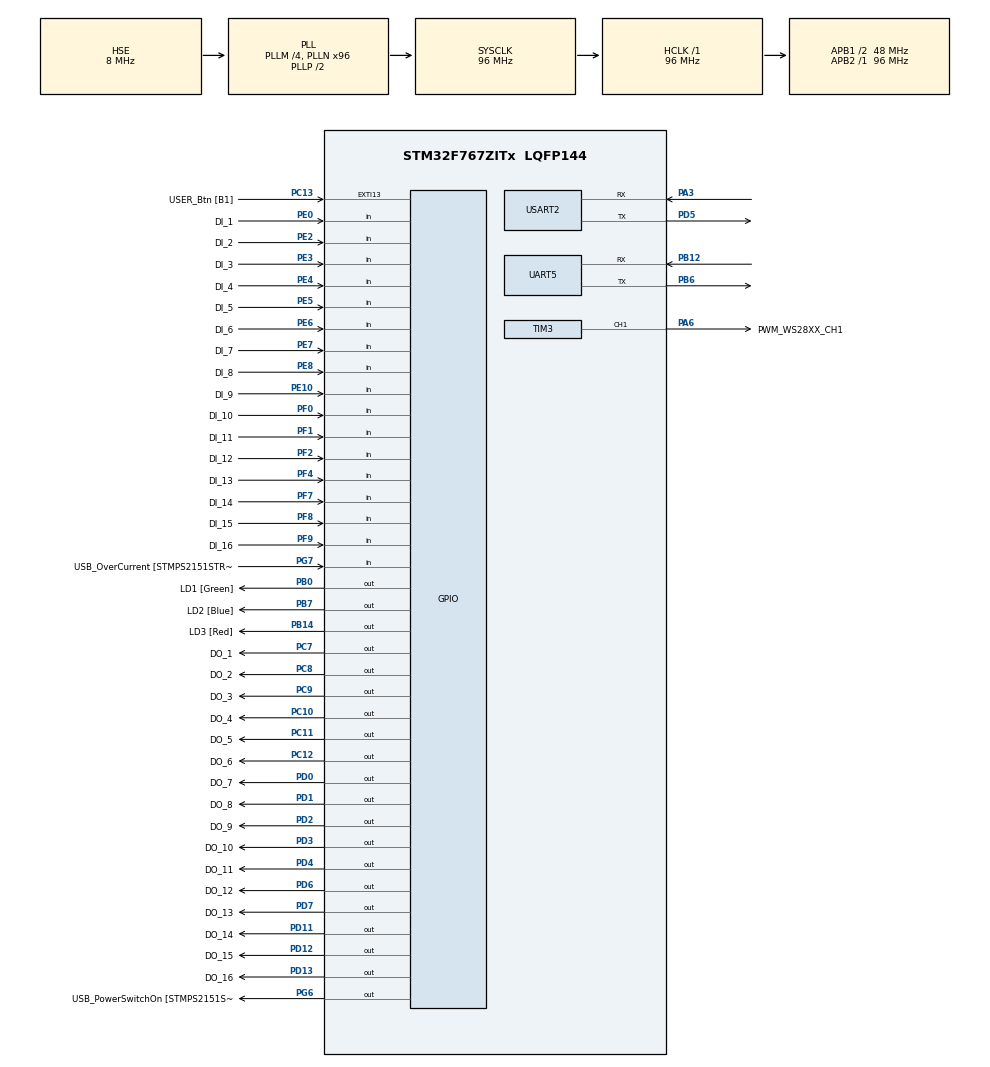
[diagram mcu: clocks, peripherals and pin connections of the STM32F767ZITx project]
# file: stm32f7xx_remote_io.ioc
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Dma.Request0=TIM3_CH1/TRIG
Dma.Request1=USART2_TX
Dma.TIM3_CH1/TRIG.0.Direction=DMA_MEMORY_TO_PERIPH
Dma.TIM3_CH1/TRIG.0.FIFOMode=DMA_FIFOMODE_DISABLE
Dma.TIM3_CH1/TRIG.0.Instance=DMA1_Stream4
Dma.TIM3_CH1/TRIG.0.MemDataAlignment=DMA_MDATAALIGN_WORD
Dma.TIM3_CH1/TRIG.0.MemInc=DMA_MINC_ENABLE
Dma.TIM3_CH1/TRIG.0.Mode=DMA_CIRCULAR
Dma.TIM3_CH1/TRIG.0.PeriphDataAlignment=DMA_PDATAALIGN_WORD
Dma.TIM3_CH1/TRIG.0.PeriphInc=DMA_PINC_DISABLE
Dma.TIM3_CH1/TRIG.0.Priority=DMA_PRIORITY_LOW
Dma.USART2_TX.1.Direction=DMA_MEMORY_TO_PERIPH
Dma.USART2_TX.1.FIFOMode=DMA_FIFOMODE_DISABLE
Dma.USART2_TX.1.Instance=DMA1_Stream6
Dma.USART2_TX.1.MemDataAlignment=DMA_MDATAALIGN_BYTE
Dma.USART2_TX.1.MemInc=DMA_MINC_ENABLE
Dma.USART2_TX.1.Mode=DMA_NORMAL
Dma.USART2_TX.1.PeriphDataAlignment=DMA_PDATAALIGN_BYTE
Dma.USART2_TX.1.PeriphInc=DMA_PINC_DISABLE
Dma.USART2_TX.1.Priority=DMA_PRIORITY_LOW
Mcu.Family=STM32F7
Mcu.Name=STM32F767ZITx
Mcu.Package=LQFP144
NVIC.DMA1_Stream4_IRQn=true\:0\:0\:false\:false\:true\:false\:true\:true
NVIC.DMA1_Stream6_IRQn=true\:0\:0\:false\:false\:true\:false\:true\:true
NVIC.EXTI15_10_IRQn=true\:0\:0\:false\:false\:true\:true\:true\:true
NVIC.PriorityGroup=NVIC_PRIORITYGROUP_4
NVIC.TIM6_DAC_IRQn=true\:15\:0\:false\:false\:true\:false\:true\:true
NVIC.TimeBase=TIM6_DAC_IRQn
NVIC.TimeBaseIP=TIM6
NVIC.UART5_IRQn=true\:5\:0\:true\:false\:true\:true\:true\:true
NVIC.USART2_IRQn=true\:5\:0\:true\:false\:true\:true\:true\:true
PA1.GPIO_Label=RMII_REF_CLK [LAN8742A-CZ-TR_REFCLK0]
PA1.Signal=ETH_REF_CLK
PA10.GPIO_Label=USB_ID
PA10.Signal=USB_OTG_FS_ID
PA11.GPIO_Label=USB_DM
PA11.Signal=USB_OTG_FS_DM
PA12.GPIO_Label=USB_DP
PA12.Signal=USB_OTG_FS_DP
PA13.GPIO_Label=TMS
PA13.Mode=Serial_Wire
PA13.Signal=SYS_JTMS-SWDIO
PA14.GPIO_Label=TCK
PA14.Mode=Serial_Wire
PA14.Signal=SYS_JTCK-SWCLK
PA2.GPIO_Label=RMII_MDIO [LAN8742A-CZ-TR_MDIO]
PA2.Signal=ETH_MDIO
PA3.Mode=Asynchronous
PA3.Signal=USART2_RX
PA6.GPIO_Label=PWM_WS28XX_CH1
PA6.GPIO_ModeDefaultPP=GPIO_MODE_AF_PP
PA6.GPIO_PuPd=GPIO_PULLDOWN
PA6.Signal=S_TIM3_CH1
PA7.GPIO_Label=RMII_CRS_DV [LAN8742A-CZ-TR_CRS_DV]
PA7.Signal=ETH_CRS_DV
PA8.GPIO_Label=USB_SOF [TP1]
PA8.Signal=USB_OTG_FS_SOF
PA9.GPIO_Label=USB_VBUS
PA9.Signal=USB_OTG_FS_VBUS
PB0.GPIO_Label=LD1 [Green]
PB0.Signal=GPIO_Output
PB12.Mode=Asynchronous
PB12.Signal=UART5_RX
PB13.GPIO_Label=RMII_TXD1 [LAN8742A-CZ-TR_TXD1]
PB13.Signal=ETH_TXD1
PB14.GPIO_Label=LD3 [Red]
PB14.Signal=GPIO_Output
PB3.GPIO_Label=SWO
PB3.Signal=SYS_JTDO-SWO
PB6.Mode=Asynchronous
PB6.Signal=UART5_TX
PB7.GPIO_Label=LD2 [Blue]
PB7.Signal=GPIO_Output
PC1.GPIO_Label=RMII_MDC [LAN8742A-CZ-TR_MDC]
PC1.Signal=ETH_MDC
PC10.GPIO_Label=DO_4
PC10.GPIO_ModeDefaultOutputPP=GPIO_MODE_OUTPUT_OD
PC10.GPIO_PuPd=GPIO_NOPULL
PC10.PinState=GPIO_PIN_RESET
PC10.Signal=GPIO_Output
PC11.GPIO_Label=DO_5
PC11.GPIO_ModeDefaultOutputPP=GPIO_MODE_OUTPUT_OD
PC11.GPIO_PuPd=GPIO_NOPULL
PC11.PinState=GPIO_PIN_RESET
PC11.Signal=GPIO_Output
PC12.GPIO_Label=DO_6
PC12.GPIO_ModeDefaultOutputPP=GPIO_MODE_OUTPUT_OD
PC12.GPIO_PuPd=GPIO_NOPULL
PC12.PinState=GPIO_PIN_RESET
PC12.Signal=GPIO_Output
PC13.GPIO_Label=USER_Btn [B1]
PC13.Signal=GPXTI13
PC14/OSC32_IN.Mode=LSE-External-Oscillator
PC14/OSC32_IN.Signal=RCC_OSC32_IN
PC15/OSC32_OUT.Mode=LSE-External-Oscillator
PC15/OSC32_OUT.Signal=RCC_OSC32_OUT
PC4.GPIO_Label=RMII_RXD0 [LAN8742A-CZ-TR_RXD0]
PC4.Signal=ETH_RXD0
PC5.GPIO_Label=RMII_RXD1 [LAN8742A-CZ-TR_RXD1]
PC5.Signal=ETH_RXD1
PC7.GPIO_Label=DO_1
PC7.GPIO_ModeDefaultOutputPP=GPIO_MODE_OUTPUT_OD
PC7.GPIO_PuPd=GPIO_NOPULL
PC7.PinState=GPIO_PIN_RESET
PC7.Signal=GPIO_Output
PC8.GPIO_Label=DO_2
PC8.GPIO_ModeDefaultOutputPP=GPIO_MODE_OUTPUT_OD
PC8.GPIO_PuPd=GPIO_NOPULL
PC8.PinState=GPIO_PIN_RESET
PC8.Signal=GPIO_Output
PC9.GPIO_Label=DO_3
PC9.GPIO_ModeDefaultOutputPP=GPIO_MODE_OUTPUT_OD
PC9.GPIO_PuPd=GPIO_NOPULL
PC9.PinState=GPIO_PIN_RESET
PC9.Signal=GPIO_Output
PD0.GPIO_Label=DO_7
PD0.GPIO_ModeDefaultOutputPP=GPIO_MODE_OUTPUT_OD
PD0.GPIO_PuPd=GPIO_NOPULL
PD0.PinState=GPIO_PIN_RESET
PD0.Signal=GPIO_Output
PD1.GPIO_Label=DO_8
PD1.GPIO_ModeDefaultOutputPP=GPIO_MODE_OUTPUT_OD
PD1.GPIO_PuPd=GPIO_NOPULL
PD1.Signal=GPIO_Output
PD11.GPIO_Label=DO_14
PD11.GPIO_ModeDefaultOutputPP=GPIO_MODE_OUTPUT_OD
PD11.GPIO_PuPd=GPIO_NOPULL
PD11.Signal=GPIO_Output
PD12.GPIO_Label=DO_15
PD12.GPIO_ModeDefaultOutputPP=GPIO_MODE_OUTPUT_OD
PD12.GPIO_PuPd=GPIO_NOPULL
PD12.Signal=GPIO_Output
PD13.GPIO_Label=DO_16
PD13.GPIO_ModeDefaultOutputPP=GPIO_MODE_OUTPUT_OD
PD13.GPIO_PuPd=GPIO_NOPULL
PD13.Signal=GPIO_Output
PD2.GPIO_Label=DO_9
PD2.GPIO_ModeDefaultOutputPP=GPIO_MODE_OUTPUT_OD
PD2.GPIO_PuPd=GPIO_NOPULL
PD2.Signal=GPIO_Output
PD3.GPIO_Label=DO_10
PD3.GPIO_ModeDefaultOutputPP=GPIO_MODE_OUTPUT_OD
PD3.GPIO_PuPd=GPIO_NOPULL
PD3.Signal=GPIO_Output
PD4.GPIO_Label=DO_11
PD4.GPIO_ModeDefaultOutputPP=GPIO_MODE_OUTPUT_OD
PD4.GPIO_PuPd=GPIO_NOPULL
PD4.Signal=GPIO_Output
PD5.Mode=Asynchronous
PD5.Signal=USART2_TX
PD6.GPIO_Label=DO_12
PD6.GPIO_ModeDefaultOutputPP=GPIO_MODE_OUTPUT_OD
PD6.GPIO_PuPd=GPIO_NOPULL
PD6.Signal=GPIO_Output
PD7.GPIO_Label=DO_13
PD7.GPIO_ModeDefaultOutputPP=GPIO_MODE_OUTPUT_OD
PD7.GPIO_PuPd=GPIO_NOPULL
PD7.PinState=GPIO_PIN_RESET
PD7.Signal=GPIO_Output
PD8.GPIO_Label=STLK_RX [STM32F103CBT6_PA3]
PD8.Signal=USART3_TX
PD9.GPIO_Label=STLK_TX [STM32F103CBT6_PA2]
PD9.Signal=USART3_RX
PE0.GPIO_Label=DI_1
PE0.GPIO_PuPd=GPIO_PULLUP
PE0.Signal=GPIO_Input
PE10.GPIO_Label=DI_9
PE10.GPIO_PuPd=GPIO_PULLUP
PE10.Signal=GPIO_Input
PE2.GPIO_Label=DI_2
PE2.GPIO_PuPd=GPIO_PULLUP
PE2.Signal=GPIO_Input
PE3.GPIO_Label=DI_3
PE3.GPIO_PuPd=GPIO_PULLUP
PE3.Signal=GPIO_Input
PE4.GPIO_Label=DI_4
PE4.GPIO_PuPd=GPIO_PULLUP
PE4.Signal=GPIO_Input
PE5.GPIO_Label=DI_5
PE5.GPIO_PuPd=GPIO_PULLUP
PE5.Signal=GPIO_Input
PE6.GPIO_Label=DI_6
PE6.GPIO_PuPd=GPIO_PULLUP
PE6.Signal=GPIO_Input
PE7.GPIO_Label=DI_7
PE7.GPIO_PuPd=GPIO_PULLUP
PE7.Signal=GPIO_Input
PE8.GPIO_Label=DI_8
PE8.GPIO_PuPd=GPIO_PULLUP
PE8.Signal=GPIO_Input
PF0.GPIO_Label=DI_10
PF0.GPIO_PuPd=GPIO_PULLUP
PF0.Signal=GPIO_Input
PF1.GPIO_Label=DI_11
PF1.GPIO_PuPd=GPIO_PULLUP
PF1.Signal=GPIO_Input
PF2.GPIO_Label=DI_12
PF2.GPIO_PuPd=GPIO_PULLUP
PF2.Signal=GPIO_Input
PF4.GPIO_Label=DI_13
PF4.GPIO_PuPd=GPIO_PULLUP
PF4.Signal=GPIO_Input
PF7.GPIO_Label=DI_14
PF7.GPIO_PuPd=GPIO_PULLUP
PF7.Signal=GPIO_Input
PF8.GPIO_Label=DI_15
PF8.GPIO_PuPd=GPIO_PULLUP
PF8.Signal=GPIO_Input
PF9.GPIO_Label=DI_16
PF9.GPIO_PuPd=GPIO_PULLUP
PF9.Signal=GPIO_Input
PG11.GPIO_Label=RMII_TX_EN [LAN8742A-CZ-TR_TXEN]
PG11.Signal=ETH_TX_EN
PG13.GPIO_Label=RMII_TXD0 [LAN8742A-CZ-TR_TXD0]
PG13.Signal=ETH_TXD0
PG6.GPIO_Label=USB_PowerSwitchOn [STMPS2151STR_EN]
PG6.Signal=GPIO_Output
PG7.GPIO_Label=USB_OverCurrent [STMPS2151STR_FAULT]
PG7.Signal=GPIO_Input
PH0/OSC_IN.GPIO_Label=MCO [STM32F103CBT6_PA8]
PH0/OSC_IN.Mode=HSE-External-Clock-Source
PH0/OSC_IN.Signal=RCC_OSC_IN
PH1/OSC_OUT.Mode=HSE-External-Clock-Source
PH1/OSC_OUT.Signal=RCC_OSC_OUT
ProjectManager.HeapSize=0x200
ProjectManager.StackSize=0x400
ProjectManager.TargetToolchain=STM32CubeIDE
RCC.48MHZClocksFreq_Value=24000000
RCC.AHBFreq_Value=96000000
RCC.APB1CLKDivider=RCC_HCLK_DIV2
RCC.APB1Freq_Value=48000000
RCC.APB1TimFreq_Value=96000000
RCC.APB2Freq_Value=96000000
RCC.APB2TimFreq_Value=96000000
RCC.CortexFreq_Value=96000000
RCC.HCLKFreq_Value=96000000
RCC.HSE_VALUE=8000000
RCC.HSI_VALUE=16000000
RCC.PLLM=4
RCC.PLLMUL=RCC_PLL_MUL9
RCC.PLLN=96
RCC.PLLQ=4
RCC.PLLSourceVirtual=RCC_PLLSOURCE_HSE
RCC.PRESCALERUSB=RCC_USBCLKSOURCE_PLL_DIV1_5
RCC.SYSCLKFreq_VALUE=96000000
RCC.SYSCLKSource=RCC_SYSCLKSOURCE_PLLCLK
RCC.SYSCLKSourceVirtual=RCC_SYSCLKSOURCE_PLLCLK
RCC.USBFreq_Value=48000000
RCC.VCOOutputFreq_Value=192000000
SH.S_TIM3_CH1.0=TIM3_CH1,PWM Generation1 CH1
TIM3.Channel-PWM\ Generation1\ CH1=TIM_CHANNEL_1
TIM3.OCPolarity_1=TIM_OCPOLARITY_HIGH
TIM3.Period=120
USART2.VirtualMode-Asynchronous=VM_ASYNC
VP_SYS_VS_tim6.Mode=TIM6
VP_TIM3_VS_ClockSourceINT.Mode=Internal
board=NUCLEO-F767ZI

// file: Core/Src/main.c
/* USER CODE BEGIN Header */
/**
 ******************************************************************************
 * @file           : main.c
 * @brief          : Main program body
 ******************************************************************************
 * @attention
 *
 * Copyright (c) 2024 STMicroelectronics.
 * All rights reserved.
 *
 * This software is licensed under terms that can be found in the LICENSE file
 * in the root directory of this software component.
 * If no LICENSE file comes with this software, it is provided AS-IS.
 *
 ******************************************************************************
 */
/* USER CODE END Header */
#include "main.h"

/* USER CODE BEGIN Includes */
#include "stm32f7xx_remote_io.h"

/* USER CODE END Includes */

TIM_HandleTypeDef htim3;
DMA_HandleTypeDef hdma_tim3_ch1_trig;

UART_HandleTypeDef huart5;
UART_HandleTypeDef huart2;
DMA_HandleTypeDef hdma_usart2_tx;

void SystemClock_Config(void);
static void MX_GPIO_Init(void);
static void MX_DMA_Init(void);
static void MX_TIM3_Init(void);
static void MX_USART2_UART_Init(void);
static void MX_UART5_Init(void);

int main(void)
{

  /* MCU Configuration--------------------------------------------------------*/

  /* Reset of all peripherals, Initializes the Flash interface and the Systick. */
  HAL_Init();

  /* USER CODE BEGIN Init */
  freertos_init();

  /* USER CODE END Init */

  /* Configure the system clock */
  SystemClock_Config();

  /* USER CODE BEGIN SysInit */
  // Initialize settings
  // this function shall be called before initializing any other module,
  // because some of the modules depend on the settings.
  settings_init();

  /* USER CODE END SysInit */

  /* Initialize all configured peripherals */
  MX_GPIO_Init();
  MX_DMA_Init();
  MX_TIM3_Init();
  MX_USART2_UART_Init();
  MX_UART5_Init();
  /* USER CODE BEGIN 2 */

  // Initialize tcp server
  tcp_server_init();

  // Initialize API
  api_init();

  // Initialize PWM for WS28XX LED
  ws28xx_pwm_init(&htim3, TIM_CHANNEL_1);

  // Initialize UART
  uart_init();

  // Initialize digital inputs
  digital_input_init();

  // Initialize digital outputs
  digital_output_init();

  // start scheduler
  vTaskStartScheduler();

  /* USER CODE END 2 */

  /* Infinite loop */
  while (1)
  {

  }
}

void SystemClock_Config(void)
{
  RCC_OscInitTypeDef RCC_OscInitStruct = {0};
  RCC_ClkInitTypeDef RCC_ClkInitStruct = {0};

  /** Configure LSE Drive Capability
  */
  HAL_PWR_EnableBkUpAccess();

  /** Configure the main internal regulator output voltage
  */
  __HAL_RCC_PWR_CLK_ENABLE();
  __HAL_PWR_VOLTAGESCALING_CONFIG(PWR_REGULATOR_VOLTAGE_SCALE3);

  /** Initializes the RCC Oscillators according to the specified parameters
  * in the RCC_OscInitTypeDef structure.
  */
  RCC_OscInitStruct.OscillatorType = RCC_OSCILLATORTYPE_HSE;
  RCC_OscInitStruct.HSEState = RCC_HSE_BYPASS;
  RCC_OscInitStruct.PLL.PLLState = RCC_PLL_ON;
  RCC_OscInitStruct.PLL.PLLSource = RCC_PLLSOURCE_HSE;
  RCC_OscInitStruct.PLL.PLLM = 4;
  RCC_OscInitStruct.PLL.PLLN = 96;
  RCC_OscInitStruct.PLL.PLLP = RCC_PLLP_DIV2;
  RCC_OscInitStruct.PLL.PLLQ = 4;
  RCC_OscInitStruct.PLL.PLLR = 2;
  if (HAL_RCC_OscConfig(&RCC_OscInitStruct) != HAL_OK)
  {
    Error_Handler();
  }

  /** Activate the Over-Drive mode
  */
  if (HAL_PWREx_EnableOverDrive() != HAL_OK)
  {
    Error_Handler();
  }

  /** Initializes the CPU, AHB and APB buses clocks
  */
  RCC_ClkInitStruct.ClockType = RCC_CLOCKTYPE_HCLK|RCC_CLOCKTYPE_SYSCLK
                              |RCC_CLOCKTYPE_PCLK1|RCC_CLOCKTYPE_PCLK2;
  RCC_ClkInitStruct.SYSCLKSource = RCC_SYSCLKSOURCE_PLLCLK;
  RCC_ClkInitStruct.AHBCLKDivider = RCC_SYSCLK_DIV1;
  RCC_ClkInitStruct.APB1CLKDivider = RCC_HCLK_DIV2;
  RCC_ClkInitStruct.APB2CLKDivider = RCC_HCLK_DIV1;

  if (HAL_RCC_ClockConfig(&RCC_ClkInitStruct, FLASH_LATENCY_3) != HAL_OK)
  {
    Error_Handler();
  }
}

static void MX_TIM3_Init(void)
{

  TIM_ClockConfigTypeDef sClockSourceConfig = {0};
  TIM_MasterConfigTypeDef sMasterConfig = {0};
  TIM_OC_InitTypeDef sConfigOC = {0};

  htim3.Instance = TIM3;
  htim3.Init.Prescaler = 0;
  htim3.Init.CounterMode = TIM_COUNTERMODE_UP;
  htim3.Init.Period = 120;
  htim3.Init.ClockDivision = TIM_CLOCKDIVISION_DIV1;
  htim3.Init.AutoReloadPreload = TIM_AUTORELOAD_PRELOAD_DISABLE;
  if (HAL_TIM_Base_Init(&htim3) != HAL_OK)
  {
    Error_Handler();
  }
  sClockSourceConfig.ClockSource = TIM_CLOCKSOURCE_INTERNAL;
  if (HAL_TIM_ConfigClockSource(&htim3, &sClockSourceConfig) != HAL_OK)
  {
    Error_Handler();
  }
  if (HAL_TIM_PWM_Init(&htim3) != HAL_OK)
  {
    Error_Handler();
  }
  sMasterConfig.MasterOutputTrigger = TIM_TRGO_RESET;
  sMasterConfig.MasterSlaveMode = TIM_MASTERSLAVEMODE_DISABLE;
  if (HAL_TIMEx_MasterConfigSynchronization(&htim3, &sMasterConfig) != HAL_OK)
  {
    Error_Handler();
  }
  sConfigOC.OCMode = TIM_OCMODE_PWM1;
  sConfigOC.Pulse = 0;
  sConfigOC.OCPolarity = TIM_OCPOLARITY_HIGH;
  sConfigOC.OCFastMode = TIM_OCFAST_DISABLE;
  if (HAL_TIM_PWM_ConfigChannel(&htim3, &sConfigOC, TIM_CHANNEL_1) != HAL_OK)
  {
    Error_Handler();
  }
  HAL_TIM_MspPostInit(&htim3);

}

static void MX_UART5_Init(void)
{

  /* USER CODE BEGIN UART5_Init 0 */
  // override part of the default UART initialization
  // it is mandatory to manually copy some of the settings from the default initialization,
  // which are not yet open to the user.
  huart5.Instance = UART5;
  huart5.Init.Mode = UART_MODE_TX_RX;
  huart5.Init.HwFlowCtl = UART_HWCONTROL_NONE;
  huart5.Init.OverSampling = UART_OVERSAMPLING_16;
  huart5.Init.OneBitSampling = UART_ONE_BIT_SAMPLE_DISABLE;
  huart5.AdvancedInit.AdvFeatureInit = UART_ADVFEATURE_NO_INIT;
  uart_msp_init(UART_2, &huart5, &(settings.uart[UART_2]));
  return;

  /* USER CODE END UART5_Init 0 */

  huart5.Instance = UART5;
  huart5.Init.BaudRate = 115200;
  huart5.Init.WordLength = UART_WORDLENGTH_8B;
  huart5.Init.StopBits = UART_STOPBITS_1;
  huart5.Init.Parity = UART_PARITY_NONE;
  huart5.Init.Mode = UART_MODE_TX_RX;
  huart5.Init.HwFlowCtl = UART_HWCONTROL_NONE;
  huart5.Init.OverSampling = UART_OVERSAMPLING_16;
  huart5.Init.OneBitSampling = UART_ONE_BIT_SAMPLE_DISABLE;
  huart5.AdvancedInit.AdvFeatureInit = UART_ADVFEATURE_NO_INIT;
  if (HAL_UART_Init(&huart5) != HAL_OK)
  {
    Error_Handler();
  }

}

static void MX_USART2_UART_Init(void)
{

  /* USER CODE BEGIN USART2_Init 0 */
  // override part of the default UART initialization
  // it is mandatory to manually copy some of the settings from the default initialization,
  // which are not yet open to the user.
  huart2.Instance = USART2;
  huart2.Init.Mode = UART_MODE_TX_RX;
  huart2.Init.HwFlowCtl = UART_HWCONTROL_NONE;
  huart2.Init.OverSampling = UART_OVERSAMPLING_16;
  huart2.Init.OneBitSampling = UART_ONE_BIT_SAMPLE_DISABLE;
  huart2.AdvancedInit.AdvFeatureInit = UART_ADVFEATURE_NO_INIT;
  uart_msp_init(UART_1, &huart2, &(settings.uart[UART_1]));
  return;

  /* USER CODE END USART2_Init 0 */

  huart2.Instance = USART2;
  huart2.Init.BaudRate = 115200;
  huart2.Init.WordLength = UART_WORDLENGTH_8B;
  huart2.Init.StopBits = UART_STOPBITS_1;
  huart2.Init.Parity = UART_PARITY_NONE;
  huart2.Init.Mode = UART_MODE_TX_RX;
  huart2.Init.HwFlowCtl = UART_HWCONTROL_NONE;
  huart2.Init.OverSampling = UART_OVERSAMPLING_16;
  huart2.Init.OneBitSampling = UART_ONE_BIT_SAMPLE_DISABLE;
  huart2.AdvancedInit.AdvFeatureInit = UART_ADVFEATURE_NO_INIT;
  if (HAL_UART_Init(&huart2) != HAL_OK)
  {
    Error_Handler();
  }

}

static void MX_DMA_Init(void)
{

  /* DMA controller clock enable */
  __HAL_RCC_DMA1_CLK_ENABLE();

  /* DMA interrupt init */
  /* DMA1_Stream4_IRQn interrupt configuration */
  HAL_NVIC_SetPriority(DMA1_Stream4_IRQn, 0, 0);
  HAL_NVIC_EnableIRQ(DMA1_Stream4_IRQn);
  /* DMA1_Stream6_IRQn interrupt configuration */
  HAL_NVIC_SetPriority(DMA1_Stream6_IRQn, 0, 0);
  HAL_NVIC_EnableIRQ(DMA1_Stream6_IRQn);

}

static void MX_GPIO_Init(void)
{
  GPIO_InitTypeDef GPIO_InitStruct = {0};

  /* GPIO Ports Clock Enable */
  __HAL_RCC_GPIOE_CLK_ENABLE();
  __HAL_RCC_GPIOC_CLK_ENABLE();
  __HAL_RCC_GPIOF_CLK_ENABLE();
  __HAL_RCC_GPIOH_CLK_ENABLE();
  __HAL_RCC_GPIOA_CLK_ENABLE();
  __HAL_RCC_GPIOB_CLK_ENABLE();
  __HAL_RCC_GPIOD_CLK_ENABLE();
  __HAL_RCC_GPIOG_CLK_ENABLE();

  /*Configure GPIO pin Output Level */
  HAL_GPIO_WritePin(GPIOB, LD1_Pin|LD3_Pin|LD2_Pin, GPIO_PIN_RESET);

  /*Configure GPIO pin Output Level */
  HAL_GPIO_WritePin(GPIOD, DO_14_Pin|DO_15_Pin|DO_16_Pin|DO_7_Pin
                          |DO_8_Pin|DO_9_Pin|DO_10_Pin|DO_11_Pin
                          |DO_12_Pin|DO_13_Pin, GPIO_PIN_RESET);

  /*Configure GPIO pin Output Level */
  HAL_GPIO_WritePin(USB_PowerSwitchOn_GPIO_Port, USB_PowerSwitchOn_Pin, GPIO_PIN_RESET);

  /*Configure GPIO pin Output Level */
  HAL_GPIO_WritePin(GPIOC, DO_1_Pin|DO_2_Pin|DO_3_Pin|DO_4_Pin
                          |DO_5_Pin|DO_6_Pin, GPIO_PIN_RESET);

  /*Configure GPIO pins : DI_2_Pin DI_3_Pin DI_4_Pin DI_5_Pin
                           DI_6_Pin DI_7_Pin DI_8_Pin DI_9_Pin
                           DI_1_Pin */
  GPIO_InitStruct.Pin = DI_2_Pin|DI_3_Pin|DI_4_Pin|DI_5_Pin
                          |DI_6_Pin|DI_7_Pin|DI_8_Pin|DI_9_Pin
                          |DI_1_Pin;
  GPIO_InitStruct.Mode = GPIO_MODE_INPUT;
  GPIO_InitStruct.Pull = GPIO_PULLUP;
  HAL_GPIO_Init(GPIOE, &GPIO_InitStruct);

  /*Configure GPIO pin : USER_Btn_Pin */
  GPIO_InitStruct.Pin = USER_Btn_Pin;
  GPIO_InitStruct.Mode = GPIO_MODE_IT_RISING;
  GPIO_InitStruct.Pull = GPIO_NOPULL;
  HAL_GPIO_Init(USER_Btn_GPIO_Port, &GPIO_InitStruct);

  /*Configure GPIO pins : DI_10_Pin DI_11_Pin DI_12_Pin DI_13_Pin
                           DI_14_Pin DI_15_Pin DI_16_Pin */
  GPIO_InitStruct.Pin = DI_10_Pin|DI_11_Pin|DI_12_Pin|DI_13_Pin
                          |DI_14_Pin|DI_15_Pin|DI_16_Pin;
  GPIO_InitStruct.Mode = GPIO_MODE_INPUT;
  GPIO_InitStruct.Pull = GPIO_PULLUP;
  HAL_GPIO_Init(GPIOF, &GPIO_InitStruct);

  /*Configure GPIO pins : RMII_MDC_Pin RMII_RXD0_Pin RMII_RXD1_Pin */
  GPIO_InitStruct.Pin = RMII_MDC_Pin|RMII_RXD0_Pin|RMII_RXD1_Pin;
  GPIO_InitStruct.Mode = GPIO_MODE_AF_PP;
  GPIO_InitStruct.Pull = GPIO_NOPULL;
  GPIO_InitStruct.Speed = GPIO_SPEED_FREQ_VERY_HIGH;
  GPIO_InitStruct.Alternate = GPIO_AF11_ETH;
  HAL_GPIO_Init(GPIOC, &GPIO_InitStruct);

  /*Configure GPIO pins : RMII_REF_CLK_Pin RMII_MDIO_Pin RMII_CRS_DV_Pin */
  GPIO_InitStruct.Pin = RMII_REF_CLK_Pin|RMII_MDIO_Pin|RMII_CRS_DV_Pin;
  GPIO_InitStruct.Mode = GPIO_MODE_AF_PP;
  GPIO_InitStruct.Pull = GPIO_NOPULL;
  GPIO_InitStruct.Speed = GPIO_SPEED_FREQ_VERY_HIGH;
  GPIO_InitStruct.Alternate = GPIO_AF11_ETH;
  HAL_GPIO_Init(GPIOA, &GPIO_InitStruct);

  /*Configure GPIO pins : LD1_Pin LD3_Pin LD2_Pin */
  GPIO_InitStruct.Pin = LD1_Pin|LD3_Pin|LD2_Pin;
  GPIO_InitStruct.Mode = GPIO_MODE_OUTPUT_PP;
  GPIO_InitStruct.Pull = GPIO_NOPULL;
  GPIO_InitStruct.Speed = GPIO_SPEED_FREQ_LOW;
  HAL_GPIO_Init(GPIOB, &GPIO_InitStruct);

  /*Configure GPIO pin : RMII_TXD1_Pin */
  GPIO_InitStruct.Pin = RMII_TXD1_Pin;
  GPIO_InitStruct.Mode = GPIO_MODE_AF_PP;
  GPIO_InitStruct.Pull = GPIO_NOPULL;
  GPIO_InitStruct.Speed = GPIO_SPEED_FREQ_VERY_HIGH;
  GPIO_InitStruct.Alternate = GPIO_AF11_ETH;
  HAL_GPIO_Init(RMII_TXD1_GPIO_Port, &GPIO_InitStruct);

  /*Configure GPIO pins : STLK_RX_Pin STLK_TX_Pin */
  GPIO_InitStruct.Pin = STLK_RX_Pin|STLK_TX_Pin;
  GPIO_InitStruct.Mode = GPIO_MODE_AF_PP;
  GPIO_InitStruct.Pull = GPIO_NOPULL;
  GPIO_InitStruct.Speed = GPIO_SPEED_FREQ_VERY_HIGH;
  GPIO_InitStruct.Alternate = GPIO_AF7_USART3;
  HAL_GPIO_Init(GPIOD, &GPIO_InitStruct);

  /*Configure GPIO pins : DO_14_Pin DO_15_Pin DO_16_Pin DO_7_Pin
                           DO_8_Pin DO_9_Pin DO_10_Pin DO_11_Pin
                           DO_12_Pin DO_13_Pin */
  GPIO_InitStruct.Pin = DO_14_Pin|DO_15_Pin|DO_16_Pin|DO_7_Pin
                          |DO_8_Pin|DO_9_Pin|DO_10_Pin|DO_11_Pin
                          |DO_12_Pin|DO_13_Pin;
  GPIO_InitStruct.Mode = GPIO_MODE_OUTPUT_OD;
  GPIO_InitStruct.Pull = GPIO_NOPULL;
  GPIO_InitStruct.Speed = GPIO_SPEED_FREQ_LOW;
  HAL_GPIO_Init(GPIOD, &GPIO_InitStruct);

  /*Configure GPIO pin : USB_PowerSwitchOn_Pin */
  GPIO_InitStruct.Pin = USB_PowerSwitchOn_Pin;
  GPIO_InitStruct.Mode = GPIO_MODE_OUTPUT_PP;
  GPIO_InitStruct.Pull = GPIO_NOPULL;
  GPIO_InitStruct.Speed = GPIO_SPEED_FREQ_LOW;
  HAL_GPIO_Init(USB_PowerSwitchOn_GPIO_Port, &GPIO_InitStruct);

  /*Configure GPIO pin : USB_OverCurrent_Pin */
  GPIO_InitStruct.Pin = USB_OverCurrent_Pin;
  GPIO_InitStruct.Mode = GPIO_MODE_INPUT;
  GPIO_InitStruct.Pull = GPIO_NOPULL;
  HAL_GPIO_Init(USB_OverCurrent_GPIO_Port, &GPIO_InitStruct);

  /*Configure GPIO pins : DO_1_Pin DO_2_Pin DO_3_Pin DO_4_Pin
                           DO_5_Pin DO_6_Pin */
  GPIO_InitStruct.Pin = DO_1_Pin|DO_2_Pin|DO_3_Pin|DO_4_Pin
                          |DO_5_Pin|DO_6_Pin;
  GPIO_InitStruct.Mode = GPIO_MODE_OUTPUT_OD;
  GPIO_InitStruct.Pull = GPIO_NOPULL;
  GPIO_InitStruct.Speed = GPIO_SPEED_FREQ_LOW;
  HAL_GPIO_Init(GPIOC, &GPIO_InitStruct);

  /*Configure GPIO pins : USB_SOF_Pin USB_ID_Pin USB_DM_Pin USB_DP_Pin */
  GPIO_InitStruct.Pin = USB_SOF_Pin|USB_ID_Pin|USB_DM_Pin|USB_DP_Pin;
  GPIO_InitStruct.Mode = GPIO_MODE_AF_PP;
  GPIO_InitStruct.Pull = GPIO_NOPULL;
  GPIO_InitStruct.Speed = GPIO_SPEED_FREQ_VERY_HIGH;
  GPIO_InitStruct.Alternate = GPIO_AF10_OTG_FS;
  HAL_GPIO_Init(GPIOA, &GPIO_InitStruct);

  /*Configure GPIO pin : USB_VBUS_Pin */
  GPIO_InitStruct.Pin = USB_VBUS_Pin;
  GPIO_InitStruct.Mode = GPIO_MODE_INPUT;
  GPIO_InitStruct.Pull = GPIO_NOPULL;
  HAL_GPIO_Init(USB_VBUS_GPIO_Port, &GPIO_InitStruct);

  /*Configure GPIO pins : RMII_TX_EN_Pin RMII_TXD0_Pin */
  GPIO_InitStruct.Pin = RMII_TX_EN_Pin|RMII_TXD0_Pin;
  GPIO_InitStruct.Mode = GPIO_MODE_AF_PP;
  GPIO_InitStruct.Pull = GPIO_NOPULL;
  GPIO_InitStruct.Speed = GPIO_SPEED_FREQ_VERY_HIGH;
  GPIO_InitStruct.Alternate = GPIO_AF11_ETH;
  HAL_GPIO_Init(GPIOG, &GPIO_InitStruct);

  /* EXTI interrupt init*/
  HAL_NVIC_SetPriority(EXTI15_10_IRQn, 0, 0);
  HAL_NVIC_EnableIRQ(EXTI15_10_IRQn);

}

void HAL_TIM_PeriodElapsedCallback(TIM_HandleTypeDef *htim)
{
  if (htim->Instance == TIM6) {
    HAL_IncTick();
  }
}

void Error_Handler(void)
{
  __disable_irq();
  while (1)
  {
  }
}
